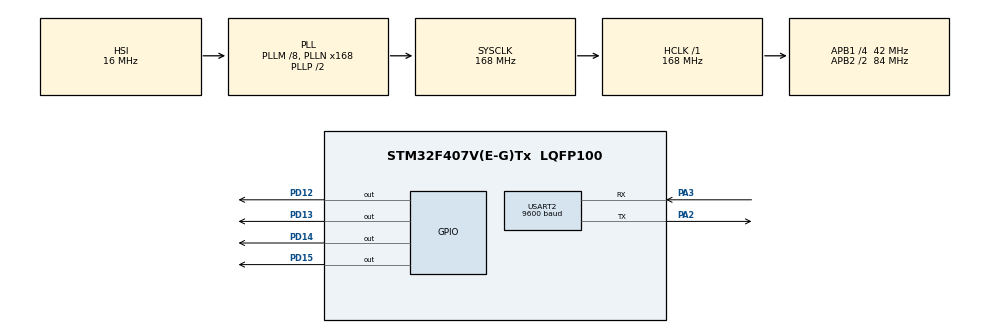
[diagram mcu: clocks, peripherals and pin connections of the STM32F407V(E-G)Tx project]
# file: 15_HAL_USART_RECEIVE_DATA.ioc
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Mcu.Family=STM32F4
Mcu.Name=STM32F407V(E-G)Tx
Mcu.Package=LQFP100
NVIC.PriorityGroup=NVIC_PRIORITYGROUP_4
PA2.Mode=Asynchronous
PA2.Signal=USART2_TX
PA3.Mode=Asynchronous
PA3.Signal=USART2_RX
PD12.Signal=GPIO_Output
PD13.Signal=GPIO_Output
PD14.Signal=GPIO_Output
PD15.Signal=GPIO_Output
ProjectManager.HeapSize=0x200
ProjectManager.StackSize=0x400
ProjectManager.TargetToolchain=STM32CubeIDE
RCC.48MHZClocksFreq_Value=84000000
RCC.AHBFreq_Value=168000000
RCC.APB1CLKDivider=RCC_HCLK_DIV4
RCC.APB1Freq_Value=42000000
RCC.APB1TimFreq_Value=84000000
RCC.APB2CLKDivider=RCC_HCLK_DIV2
RCC.APB2Freq_Value=84000000
RCC.APB2TimFreq_Value=168000000
RCC.CortexFreq_Value=168000000
RCC.HCLKFreq_Value=168000000
RCC.HSE_VALUE=25000000
RCC.HSI_VALUE=16000000
RCC.LSE_VALUE=32768
RCC.PLLM=8
RCC.PLLN=168
RCC.SYSCLKFreq_VALUE=168000000
RCC.SYSCLKSource=RCC_SYSCLKSOURCE_PLLCLK
RCC.VCOOutputFreq_Value=336000000
USART2.BaudRate=9600
USART2.VirtualMode=VM_ASYNC
board=custom

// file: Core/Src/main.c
/* USER CODE BEGIN Header */
/**
  ******************************************************************************
  * @file           : main.c
  * @brief          : Main program body
  ******************************************************************************
  * @attention
  *
  * Copyright (c) 2024 STMicroelectronics.
  * All rights reserved.
  *
  * This software is licensed under terms that can be found in the LICENSE file
  * in the root directory of this software component.
  * If no LICENSE file comes with this software, it is provided AS-IS.
  *
  ******************************************************************************
  */
/* USER CODE END Header */
#include "main.h"

UART_HandleTypeDef huart2;

/* USER CODE BEGIN PV */
 char rx_buffer[50];
 char tx_buffer[50];
/* USER CODE END PV */

void SystemClock_Config(void);
static void MX_GPIO_Init(void);
static void MX_USART2_UART_Init(void);

int main(void)
{

  /* MCU Configuration--------------------------------------------------------*/

  /* Reset of all peripherals, Initializes the Flash interface and the Systick. */
  HAL_Init();

  /* Configure the system clock */
  SystemClock_Config();

  /* Initialize all configured peripherals */
  MX_GPIO_Init();
  MX_USART2_UART_Init();

  /* Infinite loop */
  while (1)
  {

    /* USER CODE BEGIN 3 */
	  HAL_UART_Receive(&huart2, (uint8_t*)rx_buffer, 50, 100);

	  if(rx_buffer[0]=='l' && rx_buffer[1]=='e' && rx_buffer[2]=='d' &&
			  rx_buffer[3]=='1' && rx_buffer[4]==' ' && rx_buffer[5]=='o' && rx_buffer[6]=='n'){
		  HAL_GPIO_WritePin(GPIOD, GPIO_PIN_12,GPIO_PIN_SET);
		  //HAL_UART_Transmit(&huart2, (uint8_t*)tx_buffer, sprintf(tx_buffer,"birinci led yandi."), 100);
	  }

	   else if(rx_buffer[0]=='l' && rx_buffer[1]=='e' && rx_buffer[2]=='d' &&
				  rx_buffer[3]=='1' && rx_buffer[4]==' ' && rx_buffer[5]=='o' && rx_buffer[6]=='f' &&
				  rx_buffer[7]=='f'){
		   HAL_GPIO_WritePin(GPIOD, GPIO_PIN_12,GPIO_PIN_RESET);
		   //HAL_UART_Transmit(&huart2, (uint8_t*)tx_buffer, sprintf(tx_buffer,"birinci led söndü."), 100);
	   }

	  if(rx_buffer[0]=='l' && rx_buffer[1]=='e' && rx_buffer[2]=='d' &&
	 			  rx_buffer[3]=='2' && rx_buffer[4]==' ' && rx_buffer[5]=='o' && rx_buffer[6]=='n'){
		   HAL_GPIO_WritePin(GPIOD, GPIO_PIN_13,GPIO_PIN_SET);
		  //HAL_UART_Transmit(&huart2, (uint8_t*)tx_buffer, sprintf(tx_buffer,"ikinci led yandi."), 100);
	  }

	 	   else if(rx_buffer[0]=='l' && rx_buffer[1]=='e' && rx_buffer[2]=='d' &&
	 				  rx_buffer[3]=='2' && rx_buffer[4]==' ' && rx_buffer[5]=='o' && rx_buffer[6]=='f' &&
	 				  rx_buffer[7]=='f'){
	 		   HAL_GPIO_WritePin(GPIOD, GPIO_PIN_13,GPIO_PIN_RESET);
	 		 // HAL_UART_Transmit(&huart2, (uint8_t*)tx_buffer, sprintf(tx_buffer,"ikinci led söndü."), 100);
	 	   }

	  if(rx_buffer[0]=='l' && rx_buffer[1]=='e' && rx_buffer[2]=='d' &&
	 			  rx_buffer[3]=='3' && rx_buffer[4]==' ' && rx_buffer[5]=='o' && rx_buffer[6]=='n'){
		  HAL_GPIO_WritePin(GPIOD, GPIO_PIN_14,GPIO_PIN_SET);
		 // HAL_UART_Transmit(&huart2, (uint8_t*)tx_buffer, sprintf(tx_buffer,"ücüncü led yandi."), 100);
	  }

	 	   else if(rx_buffer[0]=='l' && rx_buffer[1]=='e' && rx_buffer[2]=='d' &&
	 				  rx_buffer[3]=='3' && rx_buffer[4]==' ' && rx_buffer[5]=='o' && rx_buffer[6]=='f' &&
	 				  rx_buffer[7]=='f'){
	 		     HAL_GPIO_WritePin(GPIOD, GPIO_PIN_14,GPIO_PIN_RESET);
	 		 // HAL_UART_Transmit(&huart2, (uint8_t*)tx_buffer, sprintf(tx_buffer,"ücüncü led söndü."), 100);
	 	   }

	  if(rx_buffer[0]=='l' && rx_buffer[1]=='e' && rx_buffer[2]=='d' &&
	 			  rx_buffer[3]=='4' && rx_buffer[4]==' ' && rx_buffer[5]=='o' && rx_buffer[6]=='n'){
		  HAL_GPIO_WritePin(GPIOD, GPIO_PIN_15,GPIO_PIN_SET);
		  //HAL_UART_Transmit(&huart2, (uint8_t*)tx_buffer, sprintf(tx_buffer,"dördüncü led yandi."), 100);
	  }

	 	   else if(rx_buffer[0]=='l' && rx_buffer[1]=='e' && rx_buffer[2]=='d' &&
	 				  rx_buffer[3]=='4' && rx_buffer[4]==' ' && rx_buffer[5]=='o' && rx_buffer[6]=='f' &&
	 				  rx_buffer[7]=='f'){
	 		   HAL_GPIO_WritePin(GPIOD, GPIO_PIN_15,GPIO_PIN_RESET);
	 		 // HAL_UART_Transmit(&huart2, (uint8_t*)tx_buffer, sprintf(tx_buffer,"dördüncü led söndü."), 100);
	 	   }

  }
  /* USER CODE END 3 */
}

void SystemClock_Config(void)
{
  RCC_OscInitTypeDef RCC_OscInitStruct = {0};
  RCC_ClkInitTypeDef RCC_ClkInitStruct = {0};

  /** Configure the main internal regulator output voltage
  */
  __HAL_RCC_PWR_CLK_ENABLE();
  __HAL_PWR_VOLTAGESCALING_CONFIG(PWR_REGULATOR_VOLTAGE_SCALE1);

  /** Initializes the RCC Oscillators according to the specified parameters
  * in the RCC_OscInitTypeDef structure.
  */
  RCC_OscInitStruct.OscillatorType = RCC_OSCILLATORTYPE_HSI;
  RCC_OscInitStruct.HSIState = RCC_HSI_ON;
  RCC_OscInitStruct.HSICalibrationValue = RCC_HSICALIBRATION_DEFAULT;
  RCC_OscInitStruct.PLL.PLLState = RCC_PLL_ON;
  RCC_OscInitStruct.PLL.PLLSource = RCC_PLLSOURCE_HSI;
  RCC_OscInitStruct.PLL.PLLM = 8;
  RCC_OscInitStruct.PLL.PLLN = 168;
  RCC_OscInitStruct.PLL.PLLP = RCC_PLLP_DIV2;
  RCC_OscInitStruct.PLL.PLLQ = 4;
  if (HAL_RCC_OscConfig(&RCC_OscInitStruct) != HAL_OK)
  {
    Error_Handler();
  }

  /** Initializes the CPU, AHB and APB buses clocks
  */
  RCC_ClkInitStruct.ClockType = RCC_CLOCKTYPE_HCLK|RCC_CLOCKTYPE_SYSCLK
                              |RCC_CLOCKTYPE_PCLK1|RCC_CLOCKTYPE_PCLK2;
  RCC_ClkInitStruct.SYSCLKSource = RCC_SYSCLKSOURCE_PLLCLK;
  RCC_ClkInitStruct.AHBCLKDivider = RCC_SYSCLK_DIV1;
  RCC_ClkInitStruct.APB1CLKDivider = RCC_HCLK_DIV4;
  RCC_ClkInitStruct.APB2CLKDivider = RCC_HCLK_DIV2;

  if (HAL_RCC_ClockConfig(&RCC_ClkInitStruct, FLASH_LATENCY_5) != HAL_OK)
  {
    Error_Handler();
  }
}

static void MX_USART2_UART_Init(void)
{

  huart2.Instance = USART2;
  huart2.Init.BaudRate = 9600;
  huart2.Init.WordLength = UART_WORDLENGTH_8B;
  huart2.Init.StopBits = UART_STOPBITS_1;
  huart2.Init.Parity = UART_PARITY_NONE;
  huart2.Init.Mode = UART_MODE_TX_RX;
  huart2.Init.HwFlowCtl = UART_HWCONTROL_NONE;
  huart2.Init.OverSampling = UART_OVERSAMPLING_16;
  if (HAL_UART_Init(&huart2) != HAL_OK)
  {
    Error_Handler();
  }

}

static void MX_GPIO_Init(void)
{
  GPIO_InitTypeDef GPIO_InitStruct = {0};

  /* GPIO Ports Clock Enable */
  __HAL_RCC_GPIOA_CLK_ENABLE();
  __HAL_RCC_GPIOD_CLK_ENABLE();

  /*Configure GPIO pin Output Level */
  HAL_GPIO_WritePin(GPIOD, GPIO_PIN_12|GPIO_PIN_13|GPIO_PIN_14|GPIO_PIN_15, GPIO_PIN_RESET);

  /*Configure GPIO pins : PD12 PD13 PD14 PD15 */
  GPIO_InitStruct.Pin = GPIO_PIN_12|GPIO_PIN_13|GPIO_PIN_14|GPIO_PIN_15;
  GPIO_InitStruct.Mode = GPIO_MODE_OUTPUT_PP;
  GPIO_InitStruct.Pull = GPIO_NOPULL;
  GPIO_InitStruct.Speed = GPIO_SPEED_FREQ_LOW;
  HAL_GPIO_Init(GPIOD, &GPIO_InitStruct);

}

void Error_Handler(void)
{
  __disable_irq();
  while (1)
  {
  }
}
